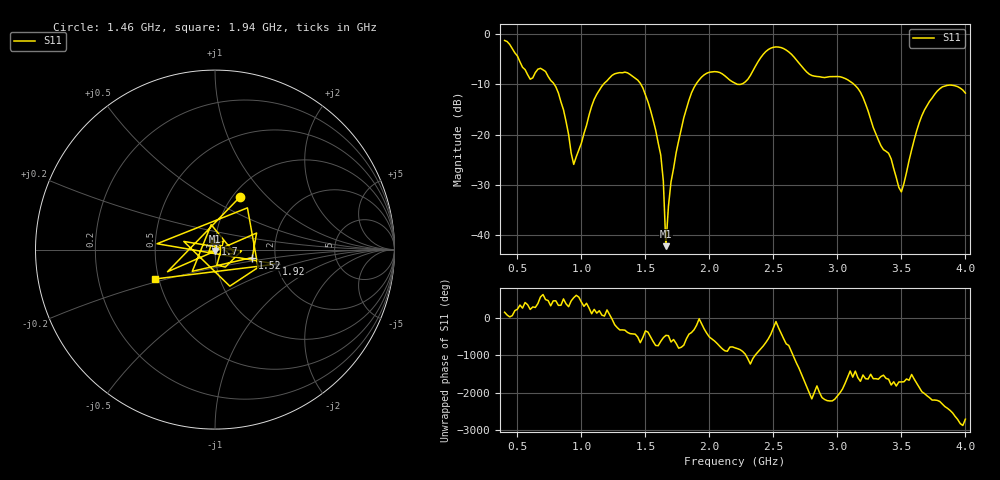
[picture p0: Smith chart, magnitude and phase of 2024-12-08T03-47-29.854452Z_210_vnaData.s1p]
!Created with skrf (http://scikit-rf.org).
# Hz S RI R 50.0
!freq ReS11 ImS11
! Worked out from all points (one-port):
!   181 points, 400 MHz to 4 GHz, reference 50 ohm
!   lowest |S11| = -42.1 dB at 1.66 GHz (marker M1), VSWR 1.02, Z = 49.9 - j0.771 ohm
!   |S11| at or under -10 dB: 787.7 MHz to 1.172 GHz (384.1 MHz wide, 39.2 % of centre); 1.465 GHz to 1.895 GHz (429.8 MHz wide, 25.6 % of centre); 3.13 GHz to end of sweep (the widest 3 of 4)
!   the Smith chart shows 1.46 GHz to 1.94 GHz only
!   S11 on the Smith chart (normalised r, x): 1.46 GHz: 1.08, +0.71; 1.52 GHz: 1.52, -0.14; 1.7 GHz: 1.01, +0.07; 1.92 GHz: 1.99, -0.37; 1.94 GHz: 0.47, -0.18
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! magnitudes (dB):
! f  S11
! 400 MHz  -1.3
! 600 MHz  -9.0
! 720 MHz  -7.5
! 860 MHz  -15.0
! 940 MHz  -25.9
! 1.1 GHz  -13.0
! 1.3 GHz  -7.7
! 1.46 GHz  -9.8
! 1.52 GHz  -13.5
! 1.62 GHz  -24.1
! 1.64 GHz  -29.2
! 1.66 GHz  -42.1
! 1.7 GHz  -29.4
! 1.76 GHz  -21.2
! 1.84 GHz  -13.2
! 1.92 GHz  -9.1
! 1.94 GHz  -8.5
! 2.2 GHz  -9.8
! 2.48 GHz  -2.8
! 2.66 GHz  -4.5
! 2.8 GHz  -8.2
! 3.1 GHz  -9.4
! 3.2 GHz  -12.6
! 3.5 GHz  -31.4
! 3.56 GHz  -25.1
! 3.66 GHz  -16.2
! 3.78 GHz  -11.3
! 4 GHz  -11.7
